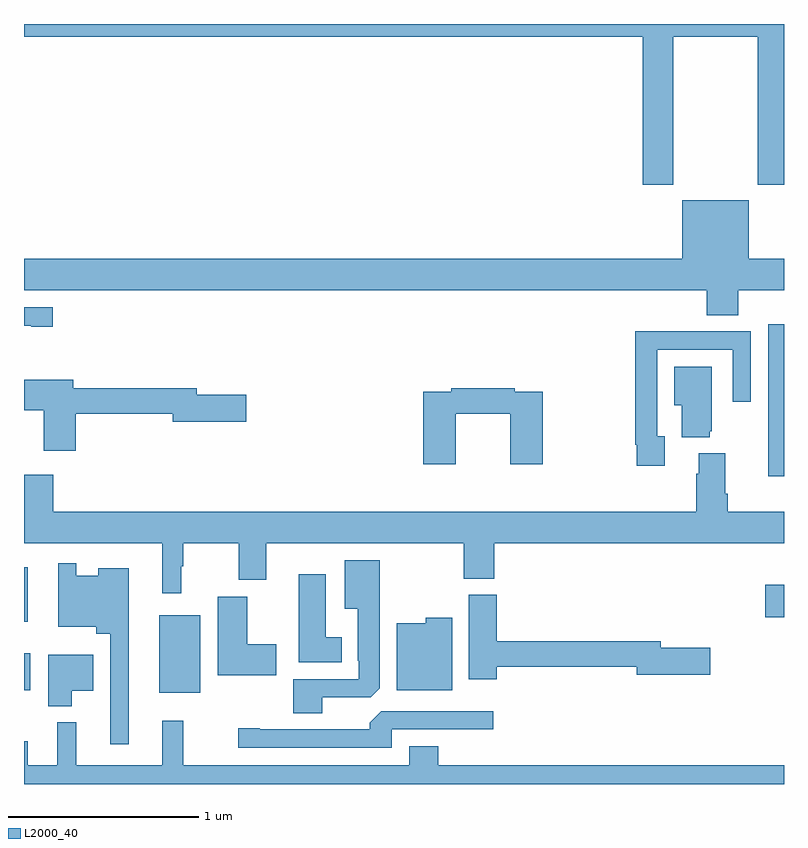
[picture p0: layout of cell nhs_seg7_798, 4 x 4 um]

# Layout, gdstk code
import gdstk
lib = gdstk.Library(unit=1e-6, precision=1e-09)
def R(c, l, rs):  # rectangles x0, y0, x1, y1
    for r in rs: c.add(gdstk.rectangle(r[:2], r[2:], *l))
def P(c, l, *ps):  # polygons
    for p in ps: c.add(gdstk.Polygon(p, *l))
L2000_40 = (2000, 40)

nhs_seg7_798 = lib.new_cell('nhs_seg7_798')
R(nhs_seg7_798, L2000_40, [(171.713,1014.479,171.928,1014.889), (171,1014.494,171.034,1014.688), (171,1014.854,171.019,1015.141), (174.9,1014.878,175,1015.048)])
P(nhs_seg7_798, L2000_40, [(174.417,1017.932),(174.862,1017.932),(174.862,1017.153),(175,1017.153),(175,1018),(171,1018),(171,1017.932),(174.257,1017.932),(174.257,1017.153),(174.417,1017.153)],
  [(174.758,1016.6),(175,1016.6),(175,1016.764),(174.814,1016.764),(174.814,1017.073),(174.464,1017.073),(174.464,1016.764),(171,1016.764),(171,1016.6),(174.593,1016.6),(174.593,1016.467),(174.758,1016.467)],
  [(171.151,1016.508),(171,1016.508),(171,1016.412),(171.038,1016.412),(171.038,1016.407),(171.151,1016.407)],
  [(175,1016.419),(174.918,1016.419),(174.918,1015.925),(174.916,1015.925),(174.916,1015.619),(175,1015.619)],
  [(174.373,1015.83),(174.333,1015.83),(174.333,1016.286),(174.729,1016.286),(174.729,1016.013),(174.825,1016.013),(174.825,1016.382),(174.509,1016.382),(174.509,1016.384),(174.217,1016.384),(174.217,1015.786),(174.225,1015.786),(174.225,1015.674),(174.373,1015.674)],
  [(174.608,1015.857),(174.619,1015.857),(174.619,1016.197),(174.422,1016.197),(174.422,1015.994),(174.461,1015.994),(174.461,1015.826),(174.608,1015.826)],
  [(171.272,1015.948),(171.782,1015.948),(171.782,1015.906),(172.171,1015.906),(172.171,1016.048),(171.91,1016.048),(171.91,1016.084),(171.259,1016.084),(171.259,1016.128),(171,1016.128),(171,1015.966),(171.104,1015.966),(171.104,1015.755),(171.272,1015.755)],
  [(173.272,1015.948),(173.558,1015.948),(173.558,1015.683),(173.729,1015.683),(173.729,1016.064),(173.582,1016.064),(173.582,1016.084),(173.248,1016.084),(173.248,1016.064),(173.102,1016.064),(173.102,1015.683),(173.272,1015.683)],
  [(171.827,1015.145),(171.838,1015.145),(171.838,1015.268),(172.129,1015.268),(172.129,1015.074),(172.276,1015.074),(172.276,1015.268),(173.314,1015.268),(173.314,1015.081),(173.474,1015.081),(173.474,1015.268),(175,1015.268),(175,1015.432),(174.704,1015.432),(174.704,1015.528),(174.691,1015.528),(174.691,1015.741),(174.551,1015.741),(174.551,1015.634),(174.539,1015.634),(174.539,1015.432),(171.155,1015.432),(171.155,1015.627),(171.002,1015.627),(171.002,1015.432),(171,1015.432),(171,1015.268),(171.728,1015.268),(171.728,1015.005),(171.827,1015.005)],
  [(172.57,1014.456),(172.824,1014.456),(172.873,1014.505),(172.873,1015.177),(172.688,1015.177),(172.688,1014.923),(172.757,1014.923),(172.757,1014.649),(172.761,1014.649),(172.761,1014.552),(172.418,1014.552),(172.418,1014.373),(172.57,1014.373)],
  [(171.55,1015.135),(171.392,1015.135),(171.392,1015.096),(171.276,1015.096),(171.276,1015.162),(171.18,1015.162),(171.18,1014.827),(171.38,1014.827),(171.38,1014.791),(171.453,1014.791),(171.453,1014.21),(171.55,1014.21)],
  [(172.672,1014.772),(172.588,1014.772),(172.588,1015.105),(172.445,1015.105),(172.445,1014.641),(172.672,1014.641)],
  [(173.489,1014.616),(174.224,1014.616),(174.224,1014.574),(174.613,1014.574),(174.613,1014.716),(174.352,1014.716),(174.352,1014.752),(173.489,1014.752),(173.489,1014.996),(173.342,1014.996),(173.342,1014.552),(173.489,1014.552)],
  [(172.327,1014.735),(172.174,1014.735),(172.174,1014.985),(172.019,1014.985),(172.019,1014.572),(172.327,1014.572)],
  [(173.254,1014.874),(173.115,1014.874),(173.115,1014.847),(172.961,1014.847),(172.961,1014.494),(173.254,1014.494)],
  [(171.25,1014.491),(171.364,1014.491),(171.364,1014.679),(171.128,1014.679),(171.128,1014.41),(171.25,1014.41)],
  [(172.935,1014.288),(173.47,1014.288),(173.47,1014.384),(172.881,1014.384),(172.82,1014.322),(172.82,1014.288),(172.24,1014.288),(172.24,1014.293),(172.128,1014.293),(172.128,1014.192),(172.935,1014.192)],
  [(175,1014.1),(173.18,1014.1),(173.18,1014.199),(173.027,1014.199),(173.027,1014.1),(171.838,1014.1),(171.838,1014.334),(171.728,1014.334),(171.728,1014.1),(171.275,1014.1),(171.275,1014.325),(171.176,1014.325),(171.176,1014.1),(171.019,1014.1),(171.019,1014.224),(171,1014.224),(171,1014),(175,1014)])

lib.write_gds('nhs_seg7_798.gds')
